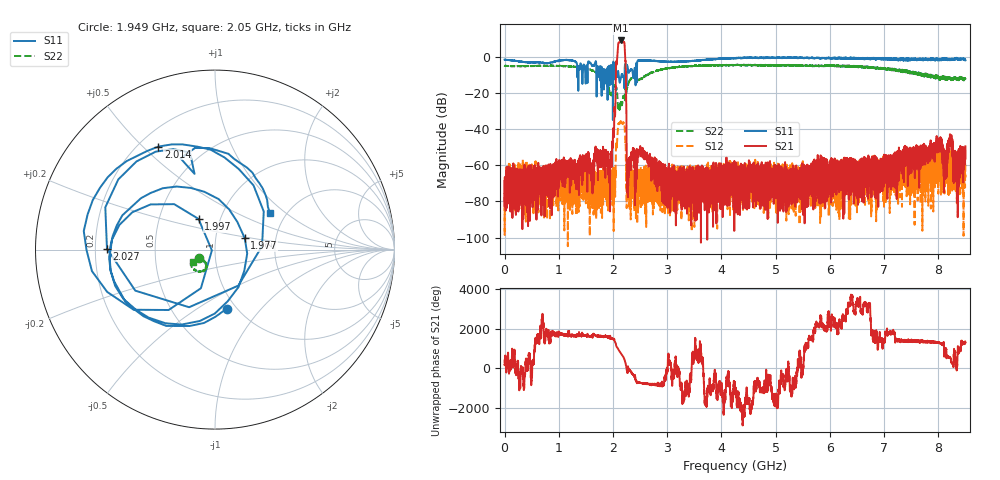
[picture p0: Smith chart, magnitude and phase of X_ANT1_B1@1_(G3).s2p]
#  HZ  S  RI  R  50.00
! Rohde & Schwarz Vector Network Analyzer
! Rohde-Schwarz,ZNBT8-20Port,1318700624101681,3.50
! Created: UTC 7/15/2025, 2:07:26 PM
! freq[Hz]  re:S1010  im:S1010  re:S0610  im:S0610  re:S1006  im:S1006  re:S66  im:S66
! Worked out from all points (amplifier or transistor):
!   8500 points, 1 MHz to 8.5 GHz, reference 50 ohm
!   highest |S21| = 9.1 dB at 2.144 GHz (marker M1)
!   |S21| within 3 dB of that: 2.094 GHz to 2.215 GHz (121.5 MHz wide, 5.64 % of centre)
!   unconditionally stable (mu >= 1): start of sweep to end of sweep
!   at 1.417 GHz: K = 1189048.38, MAG = -61.9 dB, |S12| = -68.6 dB
!   at 4.251 GHz: K = 291762.38, MAG = -60.9 dB, |S12| = -64.4 dB
!   at 8.5 GHz: K = 90970.75, MAG = -44.8 dB, |S12| = -65.1 dB
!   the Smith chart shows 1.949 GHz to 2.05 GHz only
!   S11 on the Smith chart (normalised r, x): 1.949 GHz: 0.91, -0.67; 1.977 GHz: 1.38, +0.18; 1.997 GHz: 0.79, +0.28; 2.014 GHz: 0.28, +0.56; 2.027 GHz: 0.25, +0.00; 2.05 GHz: 1.65, +0.78
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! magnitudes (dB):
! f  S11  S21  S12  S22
! 1 MHz  -1.6  -68.7  -75.6  -4.9
! 1.418 GHz  -5.1  -58.3  -73.7  -6.0
! 1.949 GHz  -9.5  -59.0  -68.4  -19.9
! 1.977 GHz  -15.0  -55.3  -71.3  -20.7
! 1.997 GHz  -14.2  -47.5  -73.5  -19.5
! 2.014 GHz  -3.7  -43.6  -68.6  -17.2
! 2.027 GHz  -4.4  -27.7  -75.9  -15.9
! 2.05 GHz  -8.7  -15.2  -62.9  -16.9
! 2.093 GHz  -8.0  5.8  -39.0  -27.9
! 2.144 GHz  -11.6  9.1  -36.0  -25.2
! 2.205 GHz  -13.6  8.0  -37.0  -22.0
! 2.293 GHz  -8.5  -61.9  -69.5  -13.6
! 2.514 GHz  -1.9  -55.0  -68.4  -12.1
! 2.834 GHz  -2.4  -61.8  -76.2  -7.5
! 4.251 GHz  -0.7  -70.9  -64.4  -4.8
! 5.667 GHz  -0.4  -68.8  -66.8  -5.1
! 7.084 GHz  -1.2  -60.6  -59.4  -7.0
! 8.005 GHz  -1.7  -49.1  -60.1  -11.8
! 8.118 GHz  -1.0  -59.5  -68.9  -11.2
! 8.227 GHz  -1.4  -45.4  -56.2  -11.7
! 8.328 GHz  -1.0  -55.8  -56.7  -12.4
! 8.5 GHz  -1.9  -49.5  -65.1  -12.0
